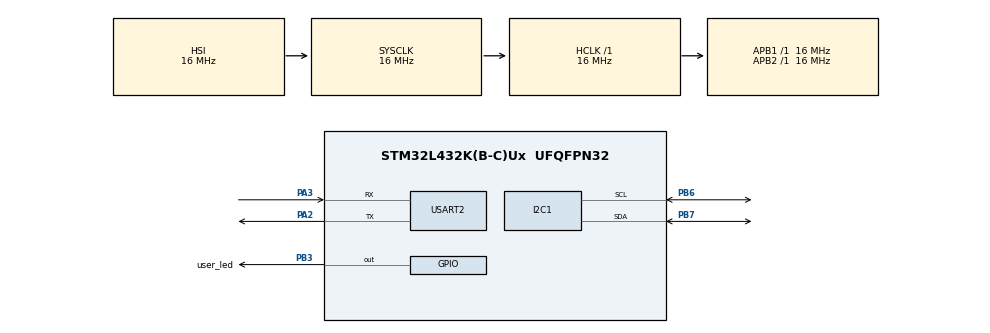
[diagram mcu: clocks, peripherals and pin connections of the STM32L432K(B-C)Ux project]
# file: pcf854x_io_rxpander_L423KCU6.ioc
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I2C1.Timing=0x00303D5B
Mcu.Family=STM32L4
Mcu.Name=STM32L432K(B-C)Ux
Mcu.Package=UFQFPN32
NVIC.PriorityGroup=NVIC_PRIORITYGROUP_4
PA13\ (JTMS-SWDIO).Mode=Serial_Wire
PA13\ (JTMS-SWDIO).Signal=SYS_JTMS-SWDIO
PA14\ (JTCK-SWCLK).Mode=Serial_Wire
PA14\ (JTCK-SWCLK).Signal=SYS_JTCK-SWCLK
PA2.Mode=Asynchronous
PA2.Signal=USART2_TX
PA3.Mode=Asynchronous
PA3.Signal=USART2_RX
PB3\ (JTDO-TRACESWO).GPIO_Label=user_led
PB3\ (JTDO-TRACESWO).Signal=GPIO_Output
PB6.Mode=I2C
PB6.Signal=I2C1_SCL
PB7.Mode=I2C
PB7.Signal=I2C1_SDA
ProjectManager.HeapSize=0x200
ProjectManager.StackSize=0x400
ProjectManager.TargetToolchain=STM32CubeIDE
RCC.ADCFreq_Value=16000000
RCC.AHBFreq_Value=16000000
RCC.APB1Freq_Value=16000000
RCC.APB1TimFreq_Value=16000000
RCC.APB2Freq_Value=16000000
RCC.APB2TimFreq_Value=16000000
RCC.CortexFreq_Value=16000000
RCC.HCLKFreq_Value=16000000
RCC.HSE_VALUE=8000000
RCC.HSI48_VALUE=48000000
RCC.HSI_VALUE=16000000
RCC.LSE_VALUE=32768
RCC.MSI_VALUE=4000000
RCC.PLLM=4
RCC.PLLN=16
RCC.PLLSourceVirtual=RCC_PLLSOURCE_HSI
RCC.SYSCLKFreq_VALUE=16000000
RCC.SYSCLKSource=RCC_SYSCLKSOURCE_HSI
RCC.USBFreq_Value=16000000
RCC.VCOOutputFreq_Value=64000000
USART2.VirtualMode-Asynchronous=VM_ASYNC
board=custom

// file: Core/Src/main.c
/* USER CODE BEGIN Header */
/**
  ******************************************************************************
  * @file           : main.c
  * @brief          : Main program body
  ******************************************************************************
  * @attention
  *
  * Copyright (c) 2023 STMicroelectronics.
  * All rights reserved.
  *
  * This software is licensed under terms that can be found in the LICENSE file
  * in the root directory of this software component.
  * If no LICENSE file comes with this software, it is provided AS-IS.
  *
  ******************************************************************************
  */
/* USER CODE END Header */
#include "main.h"
#include "pcf857x_driver_basic.h"

 I2C_HandleTypeDef hi2c1;

UART_HandleTypeDef huart2;

void SystemClock_Config(void);
static void MX_GPIO_Init(void);
static void MX_I2C1_Init(void);
static void MX_USART2_UART_Init(void);

/* USER CODE BEGIN 0 */

void serial_print(const char *pString, uint8_t u8Length);
uint8_t i2c_write(uint8_t addr, uint8_t reg, uint8_t *buf, uint16_t len);
uint8_t i2c_read(uint8_t addr, uint8_t reg, uint8_t *buf, uint16_t len);

/**
 * @brief application example state machine
 */
typedef enum
{
	READ_WRITE = 0x00,
	TOGGLE     = 0x01,
	WRITE_ALL  = 0x03
}example_state_t;

/* USER CODE END 0 */

int main(void)
{
  /* USER CODE BEGIN 1 */
	example_state_t  example_state;
  /* USER CODE END 1 */

  /* MCU Configuration--------------------------------------------------------*/

  /* Reset of all peripherals, Initializes the Flash interface and the Systick. */
  HAL_Init();

  /* Configure the system clock */
  SystemClock_Config();

  /* Initialize all configured peripherals */
  MX_GPIO_Init();
  MX_I2C1_Init();
  MX_USART2_UART_Init();
  /* USER CODE BEGIN 2 */

    err = pcf857x_basic_initialize(PCF8575_VARIANT,PCF857X_ADDRESS_A001);            /**< i2c pin address (A2, A1, A0) */
     if(err != PCF857X_DRV_OK){
         pcf857x_interface_debug_print("initialize failed, error code: %d\r", err);
     }

     /**< READ ME
      * NOTE THAT PCF8575C VARIANT PINS ARE CURRENT SINK, MEANING ONE CAN NOT WRITE A HIGH AS VDD. PLEASE YOUR DATA SHEET FOR DIFFERENCES BETWEEN PCF8575 VS PCF8575C
      * */

     err = pcf857x_info(&pcf857x_handler);

     pcf857x_interface_debug_print("Chip Name: \t%s\r\n", pcf857x_handler.info.chip_name);
     pcf857x_interface_debug_print("Manufacturer: \t%s\r\n",pcf857x_handler.info.manufacturer_name);
     pcf857x_interface_debug_print("Interface Protocol: \t%s\r\n", pcf857x_handler.info.interface);
     pcf857x_interface_debug_print("Supply Volt Max: \t%.1f V\r\n",pcf857x_handler.info.supply_voltage_max_v);
     pcf857x_interface_debug_print("Supply Volt Min: \t%.1f V\r\n",pcf857x_handler.info.supply_voltage_min_v);
     pcf857x_interface_debug_print("Maximum Current: \t%.1f mA\r\n",pcf857x_handler.info.max_current_ma);
     pcf857x_interface_debug_print("Max Temperature: \t%.1f C\r\n",pcf857x_handler.info.temperature_max);
     pcf857x_interface_debug_print("Diver Version: \t\tV%.1f.%.2d\r\n",(pcf857x_handler.info.driver_version /1000), (uint8_t)(pcf857x_handler.info.driver_version - (uint8_t)(pcf857x_handler.info.driver_version / 100)*100));
     pcf857x_interface_debug_print("\nRecommended min MCU flash: \t%dkB\r\n",pcf857x_handler.info.flash_size_min);
     pcf857x_interface_debug_print("Recommended min MCU RAM: \t%dkB\r\n",pcf857x_handler.info.ram_size_min);

     /**< uncomment one of below options to test the driver */
//     example_state = READ_WRITE;
     example_state = TOGGLE;
//     example_state = WRITE_ALL;

  /* USER CODE END 2 */

  /* Infinite loop */
  /* USER CODE BEGIN WHILE */
  while (1)
  {

	  switch(example_state)
	  {

		  case READ_WRITE:
		  {
			  if(pcf857x_basic_gpio_read(PCF857X_GPIO_PIN_0) == LOW){           /**< read pin 0 and de-bounce button */
				  pcf857x_interface_delay_ms(10);
				  if(pcf857x_basic_gpio_read(PCF857X_GPIO_PIN_0) == LOW)
					  {
						  pcf857x_basic_gpio_write(PCF857X_GPIO_PIN_11, HIGH);
					  }

			  }else{
				  pcf857x_basic_gpio_write(PCF857X_GPIO_PIN_11, LOW);
			  }
			  break;
		  }

		  case TOGGLE:
		  {
			  pcf857x_basic_gpio_toggle(PCF857X_GPIO_PIN_7);               /**< toggle pin 7 every 500 ms */
			  pcf857x_interface_delay_ms(500);
			  break;
		  }

		  case WRITE_ALL:
		  {
			  pcf857x_basic_gpio_write_all(HIGH);               /**< Write high on all port */
			  pcf857x_interface_delay_ms(500);
			  pcf857x_basic_gpio_write_all(LOW);                /**< low high on all port */
			  pcf857x_interface_delay_ms(500);
			  break;
		  }

	  }
    /* USER CODE END WHILE */

  }
}

void SystemClock_Config(void)
{
  RCC_OscInitTypeDef RCC_OscInitStruct = {0};
  RCC_ClkInitTypeDef RCC_ClkInitStruct = {0};

  /** Configure the main internal regulator output voltage
  */
  if (HAL_PWREx_ControlVoltageScaling(PWR_REGULATOR_VOLTAGE_SCALE1) != HAL_OK)
  {
    Error_Handler();
  }

  /** Initializes the RCC Oscillators according to the specified parameters
  * in the RCC_OscInitTypeDef structure.
  */
  RCC_OscInitStruct.OscillatorType = RCC_OSCILLATORTYPE_HSI;
  RCC_OscInitStruct.HSIState = RCC_HSI_ON;
  RCC_OscInitStruct.HSICalibrationValue = RCC_HSICALIBRATION_DEFAULT;
  RCC_OscInitStruct.PLL.PLLState = RCC_PLL_NONE;
  if (HAL_RCC_OscConfig(&RCC_OscInitStruct) != HAL_OK)
  {
    Error_Handler();
  }

  /** Initializes the CPU, AHB and APB buses clocks
  */
  RCC_ClkInitStruct.ClockType = RCC_CLOCKTYPE_HCLK|RCC_CLOCKTYPE_SYSCLK
                              |RCC_CLOCKTYPE_PCLK1|RCC_CLOCKTYPE_PCLK2;
  RCC_ClkInitStruct.SYSCLKSource = RCC_SYSCLKSOURCE_HSI;
  RCC_ClkInitStruct.AHBCLKDivider = RCC_SYSCLK_DIV1;
  RCC_ClkInitStruct.APB1CLKDivider = RCC_HCLK_DIV1;
  RCC_ClkInitStruct.APB2CLKDivider = RCC_HCLK_DIV1;

  if (HAL_RCC_ClockConfig(&RCC_ClkInitStruct, FLASH_LATENCY_0) != HAL_OK)
  {
    Error_Handler();
  }
}

static void MX_I2C1_Init(void)
{

  hi2c1.Instance = I2C1;
  hi2c1.Init.Timing = 0x00303D5B;
  hi2c1.Init.OwnAddress1 = 0;
  hi2c1.Init.AddressingMode = I2C_ADDRESSINGMODE_7BIT;
  hi2c1.Init.DualAddressMode = I2C_DUALADDRESS_DISABLE;
  hi2c1.Init.OwnAddress2 = 0;
  hi2c1.Init.OwnAddress2Masks = I2C_OA2_NOMASK;
  hi2c1.Init.GeneralCallMode = I2C_GENERALCALL_DISABLE;
  hi2c1.Init.NoStretchMode = I2C_NOSTRETCH_DISABLE;
  if (HAL_I2C_Init(&hi2c1) != HAL_OK)
  {
    Error_Handler();
  }

  /** Configure Analogue filter
  */
  if (HAL_I2CEx_ConfigAnalogFilter(&hi2c1, I2C_ANALOGFILTER_ENABLE) != HAL_OK)
  {
    Error_Handler();
  }

  /** Configure Digital filter
  */
  if (HAL_I2CEx_ConfigDigitalFilter(&hi2c1, 0) != HAL_OK)
  {
    Error_Handler();
  }

}

static void MX_USART2_UART_Init(void)
{

  huart2.Instance = USART2;
  huart2.Init.BaudRate = 115200;
  huart2.Init.WordLength = UART_WORDLENGTH_8B;
  huart2.Init.StopBits = UART_STOPBITS_1;
  huart2.Init.Parity = UART_PARITY_NONE;
  huart2.Init.Mode = UART_MODE_TX_RX;
  huart2.Init.HwFlowCtl = UART_HWCONTROL_NONE;
  huart2.Init.OverSampling = UART_OVERSAMPLING_16;
  huart2.Init.OneBitSampling = UART_ONE_BIT_SAMPLE_DISABLE;
  huart2.AdvancedInit.AdvFeatureInit = UART_ADVFEATURE_NO_INIT;
  if (HAL_UART_Init(&huart2) != HAL_OK)
  {
    Error_Handler();
  }

}

static void MX_GPIO_Init(void)
{
  GPIO_InitTypeDef GPIO_InitStruct = {0};

  /* GPIO Ports Clock Enable */
  __HAL_RCC_GPIOA_CLK_ENABLE();
  __HAL_RCC_GPIOB_CLK_ENABLE();

  /*Configure GPIO pin Output Level */
  HAL_GPIO_WritePin(user_led_GPIO_Port, user_led_Pin, GPIO_PIN_RESET);

  /*Configure GPIO pin : user_led_Pin */
  GPIO_InitStruct.Pin = user_led_Pin;
  GPIO_InitStruct.Mode = GPIO_MODE_OUTPUT_PP;
  GPIO_InitStruct.Pull = GPIO_NOPULL;
  GPIO_InitStruct.Speed = GPIO_SPEED_FREQ_LOW;
  HAL_GPIO_Init(user_led_GPIO_Port, &GPIO_InitStruct);

}

/* USER CODE BEGIN 4 */
/* USER CODE BEGIN 4 */
/**
 * @brief transmit serial data via usb com port
 * @param[in] pTxBuffer point to data to sent
 * @param[in] length is the data size
 * @return
 * @note		none
 * */
void serial_print(const char *pString, uint8_t u8Length)
{
	HAL_UART_Transmit(&huart2, (const char *) pString, u8Length, HAL_MAX_DELAY);
}

/**
 * @brief i2c data transmit
 * @param[in] addr is the slave address
 * @param[in] reg the register to write
 * @param[in] buf the data to be writen
 * @param[in] len size of data
 * @return  status code
 * 			- 0 success
 * 			- 1 failed to write
 * @note	none
 * */
uint8_t i2c_write(uint8_t addr, uint8_t reg, uint8_t *buf, uint16_t len)
{
  int err;
  err = HAL_I2C_Master_Transmit(&hi2c1, (addr << 1), (uint8_t *)buf, len, 1000);
	if(err != HAL_OK)
	{
		return 1;				/**< failed */
	}
	return 0;                   /**< success */
}

/**
 * @brief i2c data Read
 * @param[in] addr is the slave address
 * @param[in] reg the register to read
 * @param[out] buf point to data to read
 * @param[in] len size of data
 * @return  status code
 * 			- 0 success
 * 			- 1 failed to read
 * @note	none
 * */

uint8_t i2c_read(uint8_t addr, uint8_t reg, uint8_t *buf, uint16_t len)
{
    int err;
	err = HAL_I2C_Master_Receive(&hi2c1, (addr << 1), (uint8_t *)buf, len, 1000);
	if(err !=  HAL_OK)
	{
		return 1;				/**< failed */
	}

	return 0;                   /**< success */
}
/* USER CODE END 4 */

void Error_Handler(void)
{
  __disable_irq();
  while (1)
  {
  }
}
